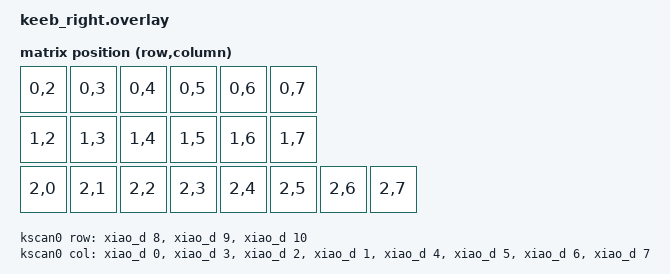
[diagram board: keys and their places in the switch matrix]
/* keebL — Seeed XIAO BLE RIGHT HALF
 * Hardware: 3 rows × 8 cols, COL2ROW diodes
 *
 * XIAO BLE pin mapping (D-number → nRF GPIO):
 *   D0 → P0.02   D1 → P0.03   D2 → P0.28   D3 → P0.29
 *   D4 → P0.04   D5 → P0.05   D6 → P1.11   D7 → P1.12
 *   D8 → P1.13   D9 → P1.14   D10 → P1.15
 *
 * col pins (D0–D7):  &xiao_d 0..7
 * row pins (D8–D10): &xiao_d 8..10
 *
 * This half is the PERIPHERAL (BLE slave).
 * Rows 0 and 1 only use cols 2-7 (cols 0-1 unused per transform).
 */

#include <dt-bindings/zmk/matrix_transform.h>

/ {
    chosen {
        zmk,kscan = &kscan0;
        zmk,matrix-transform = &transform_right;
    };

    kscan0: kscan {
        compatible = "zmk,kscan-gpio-matrix";
        diode-direction = "col2row";

        col-gpios
            = <&xiao_d 0 GPIO_ACTIVE_HIGH>   /* col 0 — D0 / P0.02 (unused in row 0 & 1) */
            , <&xiao_d 3 GPIO_ACTIVE_HIGH>   /* col 1 — D1 / P0.03 (unused in row 0 & 1) */
            , <&xiao_d 2 GPIO_ACTIVE_HIGH>   /* col 2 — D2 / P0.28 */
            , <&xiao_d 1 GPIO_ACTIVE_HIGH>   /* col 3 — D3 / P0.29 */
            , <&xiao_d 4 GPIO_ACTIVE_HIGH>   /* col 4 — D4 / P0.04 */
            , <&xiao_d 5 GPIO_ACTIVE_HIGH>   /* col 5 — D5 / P0.05 */
            , <&xiao_d 6 GPIO_ACTIVE_HIGH>   /* col 6 — D6 / P1.11 */
            , <&xiao_d 7 GPIO_ACTIVE_HIGH>   /* col 7 — D7 / P1.12 */
            ;

        row-gpios
            = <&xiao_d 8  (GPIO_ACTIVE_HIGH | GPIO_PULL_DOWN)>  /* row 0 — D8  / P1.13 */
            , <&xiao_d 9  (GPIO_ACTIVE_HIGH | GPIO_PULL_DOWN)>  /* row 1 — D9  / P1.14 */
            , <&xiao_d 10 (GPIO_ACTIVE_HIGH | GPIO_PULL_DOWN)>  /* row 2 — D10 / P1.15 */
            ;
    };

    transform_right: transform_right {
        compatible = "zmk,matrix-transform";
        rows = <3>;
        columns = <8>;
        map = <
            RC(0,2) RC(0,3) RC(0,4) RC(0,5) RC(0,6) RC(0,7)
            RC(1,2) RC(1,3) RC(1,4) RC(1,5) RC(1,6) RC(1,7)
            RC(2,0) RC(2,1) RC(2,2) RC(2,3) RC(2,4) RC(2,5) RC(2,6) RC(2,7)
        >;
    };
};
